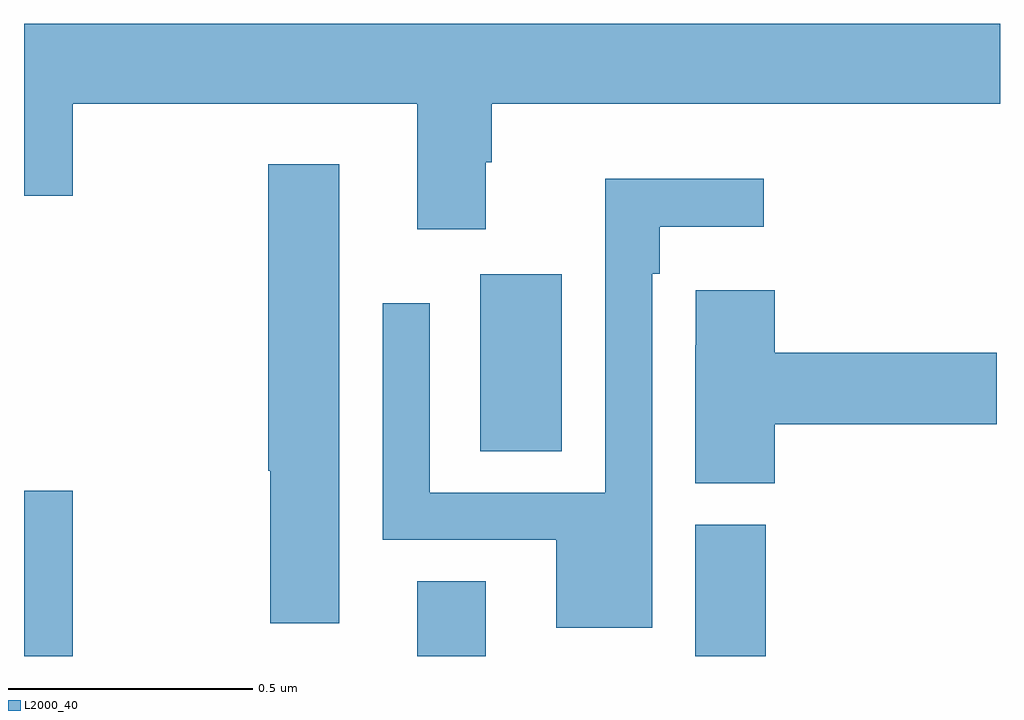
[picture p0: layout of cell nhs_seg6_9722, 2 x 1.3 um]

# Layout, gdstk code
import gdstk
lib = gdstk.Library(unit=1e-6, precision=1e-09)
def R(c, l, rs):  # rectangles x0, y0, x1, y1
    for r in rs: c.add(gdstk.rectangle(r[:2], r[2:], *l))
def P(c, l, *ps):  # polygons
    for p in ps: c.add(gdstk.Polygon(p, *l))
L2000_40 = (2000, 40)

nhs_seg6_9722 = lib.new_cell('nhs_seg6_9722')
R(nhs_seg6_9722, L2000_40, [(237,983.5,237.1,983.839), (237.806,983.5,237.946,983.654), (238.376,983.5,238.52,983.769), (237.935,983.92,238.102,984.283)])
P(nhs_seg6_9722, L2000_40, [(237.946,984.512),(237.959,984.512),(237.959,984.632),(239,984.632),(239,984.796),(237,984.796),(237,984.444),(237.1,984.444),(237.1,984.632),(237.806,984.632),(237.806,984.375),(237.946,984.375)],
  [(237.646,984.508),(237.5,984.508),(237.5,983.88),(237.505,983.88),(237.505,983.568),(237.646,983.568)],
  [(238.287,984.284),(238.303,984.284),(238.303,984.38),(238.516,984.38),(238.516,984.478),(238.191,984.478),(238.191,983.835),(237.831,983.835),(237.831,984.223),(237.735,984.223),(237.735,983.739),(238.091,983.739),(238.091,983.558),(238.287,983.558)],
  [(238.538,983.975),(238.993,983.975),(238.993,984.122),(238.538,984.122),(238.538,984.25),(238.377,984.25),(238.377,984.137),(238.376,984.137),(238.376,983.854),(238.538,983.854)])

lib.write_gds('nhs_seg6_9722.gds')
